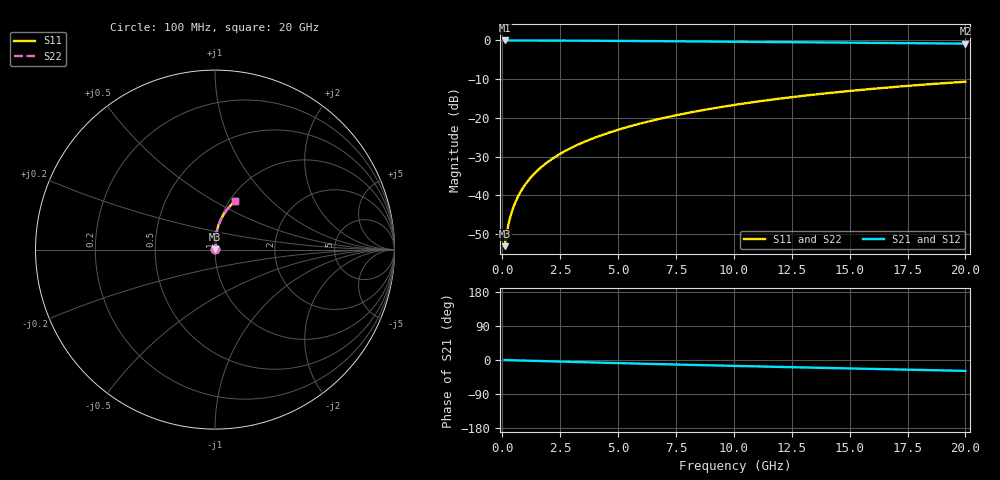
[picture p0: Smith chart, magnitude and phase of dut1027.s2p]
! Touchstone file exported from HFSS 2024.1.0
!  File:  C:/UserFiles/LocalFiles/RDL_TSV_Batchsim/temp_RDL_bottom_1027_1780050994.aedt
!  Generated:  06:38:47 PM May 29, 2026
!  Design:  RDL_bottom
!  Project:  temp_RDL_bottom_1027_1780050994
!  Setup:  Setup1
!  Solution:  Sweep
! Variables:
!  dtsv = 10.80580581um
!  hbump = 3um
!  htsv = 98.53um
!  ldown = 375.24um
!  lrdl = 100um
!  p = 40
!  p1 = 53.21um
!  rhole = 1um
!  t = 450um
!  tdown = 4.2um
!  trdl = 3.915915916um
!  wdown = 21.6um
!  wrdl = 20um
# GHz S MA R 50.000000
! Terminal data exported
! Port[1] = RDL1_T1
! Port[2] = RDL1_T2
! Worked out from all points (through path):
!   200 points, 100 MHz to 20 GHz, reference 50 ohm
!   highest |S21| = -0.01 dB at 100 MHz (marker M1); lowest = -0.8 dB at 20 GHz (marker M2)
!   group delay of S21, straight-line fit = 3.96 ps
!   lowest |S11| = -53.1 dB at 100 MHz (marker M3), VSWR 1.00, Z = 50.2 + j0.148 ohm
!   |S11| at or under -10 dB: start of sweep to end of sweep
!   |S22| runs from -53.1 to -10.7 dB; largest |S21 - S12| = 3e-15
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0.1  0.002204 41.9  0.9984 -0.2  0.9984 -0.2  0.002204 41.9
! Gamma 0 0 0 0
! Port Impedance 50 0 50 0
0.2  0.003377 59.5  0.9983 -0.3  0.9983 -0.3  0.003377 59.5
0.3  0.004667 67.4  0.9981 -0.5  0.9981 -0.5  0.004668 67.4
0.4  0.005976 71.7  0.998 -0.7  0.998 -0.7  0.005977 71.7
0.5  0.007287 74.6  0.9979 -0.9  0.9979 -0.9  0.007288 74.6
0.6  0.0086 76.6  0.9978 -1.0  0.9978 -1.0  0.008601 76.6
0.8  0.01124 79.4  0.9976 -1.4  0.9976 -1.4  0.01124 79.4
1.1  0.01523 81.9  0.9973 -1.9  0.9973 -1.9  0.01523 81.9
1.5  0.02062 83.7  0.9967 -2.5  0.9967 -2.5  0.02062 83.7
1.8  0.0247 84.6  0.9961 -3.0  0.9961 -3.0  0.0247 84.6
2.1  0.0288 85.2  0.9954 -3.5  0.9954 -3.5  0.0288 85.2
2.7  0.03711 85.8  0.9939 -4.5  0.9939 -4.5  0.03711 85.8
3.5  0.04838 86.2  0.9913 -5.8  0.9913 -5.8  0.04838 86.2
4.2  0.05843 86.2  0.9888 -6.9  0.9888 -6.9  0.05842 86.2
5  0.07012 85.9  0.9855 -8.2  0.9855 -8.2  0.07011 85.9
5.9  0.08351 85.3  0.9815 -9.6  0.9815 -9.6  0.08351 85.3
6.8  0.09713 84.6  0.9773 -10.9  0.9773 -10.9  0.09712 84.6
8.4  0.1217 83.0  0.9695 -13.3  0.9695 -13.3  0.1217 83.0
10.1  0.148 80.9  0.961 -15.7  0.961 -15.7  0.148 80.9
13.4  0.1987 76.5  0.944 -20.2  0.944 -20.2  0.1986 76.4
16.7  0.2473 71.8  0.9265 -24.5  0.9265 -24.5  0.2472 71.8
20  0.2929 67.3  0.9085 -28.7  0.9085 -28.7  0.2929 67.3
